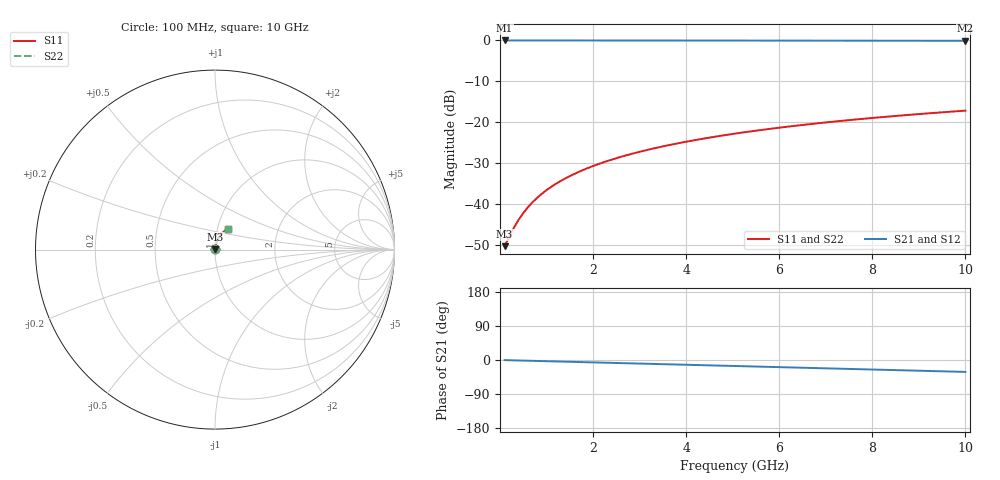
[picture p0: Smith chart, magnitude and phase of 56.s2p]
# Hz S RI R 50.00
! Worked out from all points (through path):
!   100 points, 100 MHz to 10 GHz, reference 50 ohm
!   highest |S21| = -0.02 dB at 100 MHz (marker M1); lowest = -0.1 dB at 10 GHz (marker M2)
!   group delay of S21, straight-line fit = 8.73 ps
!   lowest |S11| = -50.2 dB at 100 MHz (marker M3), VSWR 1.01, Z = 50.3 + j0.145 ohm
!   |S11| at or under -10 dB: start of sweep to end of sweep
!   |S22| runs from -50.2 to -17.2 dB; largest |S21 - S12| = 0
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1e8  0.00272 0.00145  0.9973 -0.00546  0.9973 -0.00546  0.00272 0.00145
3e8  0.00281 0.00433  0.9971 -0.0164  0.9971 -0.0164  0.00281 0.00433
4e8  0.00287 0.00578  0.997 -0.0219  0.997 -0.0219  0.00287 0.00578
5e8  0.00295 0.00722  0.9968 -0.0273  0.9968 -0.0273  0.00295 0.00722
6e8  0.00305 0.00866  0.9966 -0.0328  0.9966 -0.0328  0.00305 0.00866
7e8  0.00316 0.0101  0.9964 -0.0382  0.9964 -0.0382  0.00316 0.0101
9e8  0.00342 0.013  0.9959 -0.0491  0.9959 -0.0491  0.00342 0.013
1e9  0.00357 0.0144  0.9956 -0.0546  0.9956 -0.0546  0.00357 0.0144
1.2e9  0.00393 0.0173  0.9949 -0.0655  0.9949 -0.0655  0.00393 0.0173
1.5e9  0.00458 0.0216  0.9935 -0.0818  0.9935 -0.0818  0.00458 0.0216
1.8e9  0.00537 0.0258  0.9919 -0.0982  0.9919 -0.0982  0.00537 0.0258
2.1e9  0.00629 0.03  0.9901 -0.1144  0.9901 -0.1144  0.00629 0.03
2.5e9  0.00775 0.0356  0.9871 -0.1361  0.9871 -0.1361  0.00775 0.0356
2.9e9  0.00944 0.0411  0.9836 -0.1577  0.9836 -0.1577  0.00944 0.0411
3.4e9  0.0119 0.0479  0.9786 -0.1845  0.9786 -0.1845  0.0119 0.0479
4.2e9  0.0166 0.0585  0.9689 -0.2271  0.9689 -0.2271  0.0166 0.0585
5.1e9  0.0229 0.0698  0.9557 -0.2744  0.9557 -0.2744  0.0229 0.0698
5.9e9  0.0295 0.0792  0.9418 -0.3158  0.9418 -0.3158  0.0295 0.0792
6.7e9  0.0369 0.0881  0.9261 -0.3564  0.9261 -0.3564  0.0369 0.0881
7.5e9  0.045 0.0963  0.9086 -0.3963  0.9086 -0.3963  0.045 0.0963
8.4e9  0.055 0.1047  0.8867 -0.44  0.8867 -0.44  0.055 0.1047
1e10  0.0746 0.117  0.8425 -0.5145  0.8425 -0.5145  0.0746 0.117
